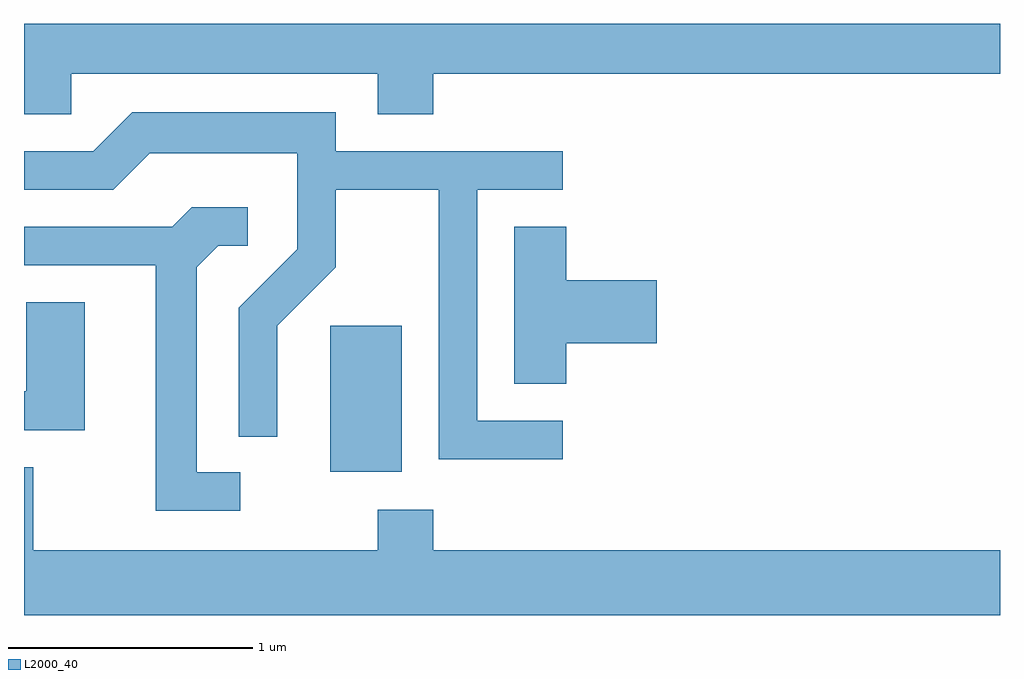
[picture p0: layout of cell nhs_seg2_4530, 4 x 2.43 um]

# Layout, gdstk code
import gdstk
lib = gdstk.Library(unit=1e-6, precision=1e-09)
def R(c, l, rs):  # rectangles x0, y0, x1, y1
    for r in rs: c.add(gdstk.rectangle(r[:2], r[2:], *l))
def P(c, l, *ps):  # polygons
    for p in ps: c.add(gdstk.Polygon(p, *l))
L2000_40 = (2000, 40)

nhs_seg2_4530 = lib.new_cell('nhs_seg2_4530')
R(nhs_seg2_4530, L2000_40, [(318.866,1099.966,319.159,1100.564)])
P(nhs_seg2_4530, L2000_40, [(317.804,1101.596),(319.061,1101.596),(319.061,1101.431),(319.289,1101.431),(319.289,1101.596),(321.611,1101.596),(321.611,1101.802),(317.611,1101.802),(317.611,1101.431),(317.804,1101.431)],
  [(319.818,1100.174),(319.469,1100.174),(319.469,1101.121),(319.818,1101.121),(319.818,1101.279),(318.889,1101.279),(318.889,1101.439),(318.054,1101.439),(317.894,1101.279),(317.611,1101.279),(317.611,1101.121),(317.977,1101.121),(318.127,1101.271),(318.731,1101.271),(318.731,1100.877),(318.491,1100.637),(318.491,1100.108),(318.649,1100.108),(318.649,1100.564),(318.889,1100.804),(318.889,1101.121),(319.311,1101.121),(319.311,1100.016),(319.818,1100.016)],
  [(318.498,1099.964),(318.319,1099.964),(318.319,1100.804),(318.407,1100.891),(318.528,1100.891),(318.528,1101.049),(318.299,1101.049),(318.219,1100.969),(317.611,1100.969),(317.611,1100.811),(318.151,1100.811),(318.151,1099.806),(318.498,1099.806)],
  [(319.834,1100.491),(320.204,1100.491),(320.204,1100.749),(319.834,1100.749),(319.834,1100.969),(319.621,1100.969),(319.621,1100.326),(319.834,1100.326)],
  [(317.859,1100.659),(317.621,1100.659),(317.621,1100.294),(317.611,1100.294),(317.611,1100.136),(317.859,1100.136)],
  [(321.611,1099.644),(319.289,1099.644),(319.289,1099.809),(319.061,1099.809),(319.061,1099.644),(317.649,1099.644),(317.649,1099.984),(317.611,1099.984),(317.611,1099.376),(321.611,1099.376)])

lib.write_gds('nhs_seg2_4530.gds')
